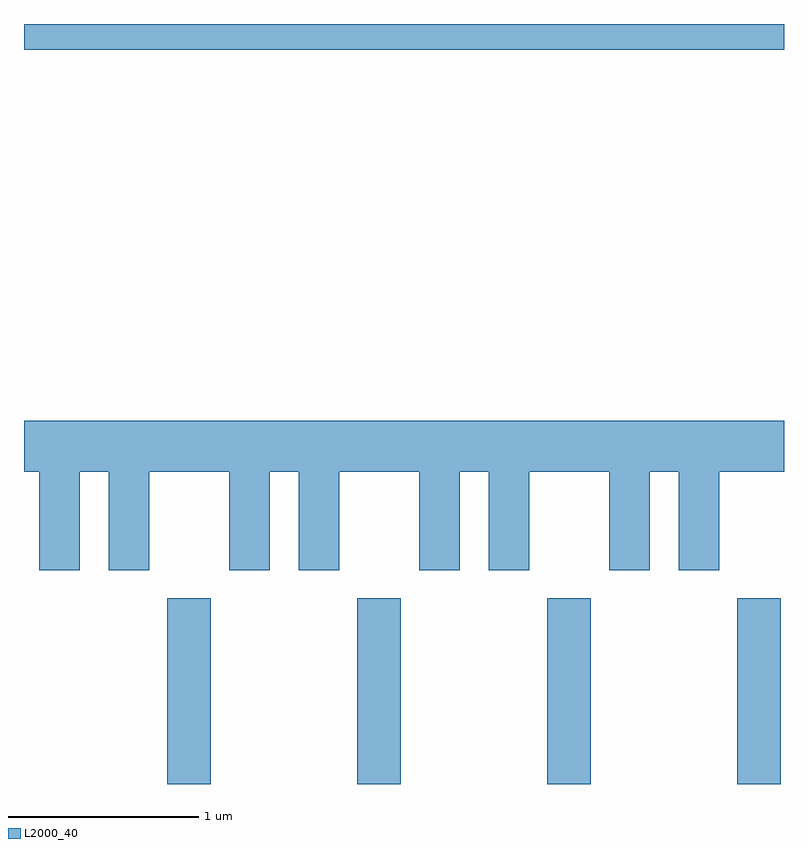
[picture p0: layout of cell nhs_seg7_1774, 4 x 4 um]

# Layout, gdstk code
import gdstk
lib = gdstk.Library(unit=1e-6, precision=1e-09)
def R(c, l, rs):  # rectangles x0, y0, x1, y1
    for r in rs: c.add(gdstk.rectangle(r[:2], r[2:], *l))
def A(c, l, x, y, w, h, nx, ny, dx, dy):  # array of equal rectangles
    R(c, l, [(x+i*dx, y+j*dy, x+i*dx+w, y+j*dy+h) for i in range(nx) for j in range(ny)])
def P(c, l, *ps):  # polygons
    for p in ps: c.add(gdstk.Polygon(p, *l))
L2000_40 = (2000, 40)

nhs_seg7_1774 = lib.new_cell('nhs_seg7_1774')
A(nhs_seg7_1774, L2000_40, 240.366, 1688.252, 0.228, 0.977, 4, 1, 1, 0)
R(nhs_seg7_1774, L2000_40, [(239.611,1692.116,243.611,1692.252)])
P(nhs_seg7_1774, L2000_40, [(239.904,1689.896),(240.056,1689.896),(240.056,1689.376),(240.269,1689.376),(240.269,1689.896),(240.691,1689.896),(240.691,1689.376),(240.904,1689.376),(240.904,1689.896),(241.056,1689.896),(241.056,1689.376),(241.269,1689.376),(241.269,1689.896),(241.691,1689.896),(241.691,1689.376),(241.904,1689.376),(241.904,1689.896),(242.056,1689.896),(242.056,1689.376),(242.269,1689.376),(242.269,1689.896),(242.691,1689.896),(242.691,1689.376),(242.904,1689.376),(242.904,1689.896),(243.056,1689.896),(243.056,1689.376),(243.269,1689.376),(243.269,1689.896),(243.611,1689.896),(243.611,1690.164),(239.611,1690.164),(239.611,1689.896),(239.691,1689.896),(239.691,1689.376),(239.904,1689.376)])

lib.write_gds('nhs_seg7_1774.gds')
